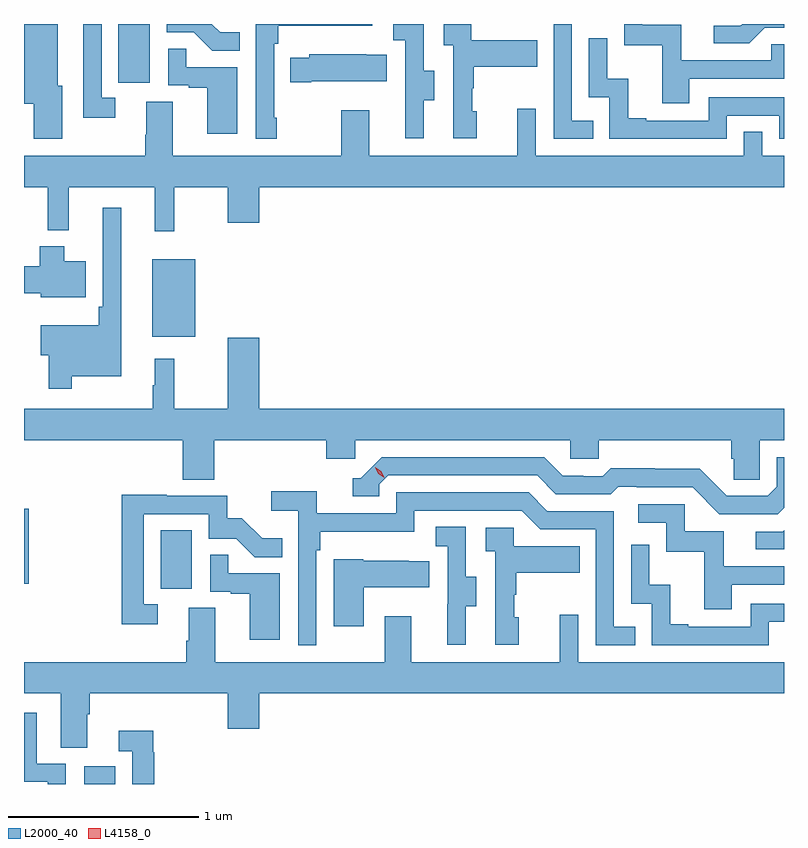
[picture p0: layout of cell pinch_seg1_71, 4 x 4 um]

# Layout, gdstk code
import gdstk
lib = gdstk.Library(unit=1e-6, precision=1e-09)
def R(c, l, rs):  # rectangles x0, y0, x1, y1
    for r in rs: c.add(gdstk.rectangle(r[:2], r[2:], *l))
def P(c, l, *ps):  # polygons
    for p in ps: c.add(gdstk.Polygon(p, *l))
L2000_40 = (2000, 40)
L4158_0 = (4158, 0)

pinch_seg1_71 = lib.new_cell('pinch_seg1_71')
R(pinch_seg1_71, L2000_40, [(1027.388,571.234,1027.552,571.327), (1027.79,572.262,1027.954,572.569), (1027.071,572.289,1027.097,572.683), (1027.745,573.587,1027.972,573.997), (1027.568,574.926,1027.732,575.233)])
P(pinch_seg1_71, L2000_40, [(1030.067,574.725),(1029.954,574.725),(1029.954,575.234),(1029.858,575.234),(1029.858,574.629),(1030.067,574.629)],
  [(1029.454,574.776),(1029.429,574.776),(1029.429,574.895),(1029.439,574.895),(1029.439,575.009),(1029.773,575.009),(1029.773,575.149),(1029.426,575.149),(1029.426,575.234),(1029.279,575.234),(1029.279,575.123),(1029.33,575.123),(1029.33,574.632),(1029.454,574.632)],
  [(1029.175,574.834),(1029.229,574.834),(1029.229,574.989),(1029.174,574.989),(1029.174,575.234),(1029.015,575.234),(1029.015,575.149),(1029.078,575.149),(1029.078,574.845),(1029.077,574.845),(1029.077,574.632),(1029.175,574.632)],
  [(1030.969,575.214),(1031.071,575.214),(1031.071,575.234),(1030.85,575.234),(1030.842,575.226),(1030.701,575.226),(1030.701,575.133),(1030.888,575.133)],
  [(1028.207,575.191),(1028.103,575.191),(1028.06,575.234),(1027.821,575.234),(1027.821,575.19),(1027.965,575.19),(1028.063,575.092),(1028.207,575.092)],
  [(1027.552,574.845),(1027.479,574.845),(1027.479,575.234),(1027.382,575.234),(1027.382,575.008),(1027.383,575.008),(1027.383,574.74),(1027.552,574.74)],
  [(1027.273,574.908),(1027.249,574.908),(1027.249,575.234),(1027.071,575.234),(1027.071,574.815),(1027.121,574.815),(1027.121,574.629),(1027.273,574.629)],
  [(1030.573,574.947),(1031.071,574.947),(1031.071,575.127),(1031.005,575.127),(1031.005,575.043),(1030.531,575.043),(1030.531,575.229),(1030.326,575.229),(1030.326,575.234),(1030.23,575.234),(1030.23,575.121),(1030.429,575.121),(1030.429,574.818),(1030.573,574.818)],
  [(1028.401,574.741),(1028.388,574.741),(1028.388,575.129),(1028.408,575.129),(1028.408,575.225),(1028.904,575.225),(1028.904,575.234),(1028.292,575.234),(1028.292,574.629),(1028.401,574.629)],
  [(1030.77,574.752),(1031.046,574.752),(1031.046,574.629),(1031.071,574.629),(1031.071,574.848),(1030.674,574.848),(1030.674,574.725),(1030.345,574.725),(1030.345,574.738),(1030.25,574.738),(1030.25,574.946),(1030.14,574.946),(1030.14,575.158),(1030.044,575.158),(1030.044,574.848),(1030.152,574.848),(1030.152,574.629),(1030.77,574.629)],
  [(1028.194,575.007),(1027.925,575.007),(1027.925,575.105),(1027.83,575.105),(1027.83,574.911),(1027.937,574.911),(1027.937,574.899),(1028.036,574.899),(1028.036,574.656),(1028.194,574.656)],
  [(1028.584,574.934),(1028.981,574.934),(1028.981,575.071),(1028.873,575.071),(1028.873,575.074),(1028.571,575.074),(1028.571,575.056),(1028.473,575.056),(1028.473,574.927),(1028.584,574.927)],
  [(1027.862,574.376),(1028.144,574.376),(1028.144,574.188),(1028.308,574.188),(1028.308,574.376),(1031.071,574.376),(1031.071,574.54),(1030.956,574.54),(1030.956,574.667),(1030.86,574.667),(1030.86,574.54),(1029.765,574.54),(1029.765,574.789),(1029.668,574.789),(1029.668,574.54),(1028.887,574.54),(1028.887,574.78),(1028.74,574.78),(1028.74,574.54),(1027.855,574.54),(1027.855,574.826),(1027.715,574.826),(1027.715,574.652),(1027.708,574.652),(1027.708,574.54),(1027.071,574.54),(1027.071,574.376),(1027.197,574.376),(1027.197,574.148),(1027.307,574.148),(1027.307,574.376),(1027.76,574.376),(1027.76,574.143),(1027.862,574.143)],
  [(1027.321,573.38),(1027.582,573.38),(1027.582,574.267),(1027.485,574.267),(1027.485,573.745),(1027.465,573.745),(1027.465,573.649),(1027.158,573.649),(1027.158,573.491),(1027.2,573.491),(1027.2,573.315),(1027.321,573.315)],
  [(1027.396,573.985),(1027.282,573.985),(1027.282,574.063),(1027.153,574.063),(1027.153,573.96),(1027.071,573.96),(1027.071,573.818),(1027.16,573.818),(1027.16,573.797),(1027.396,573.797)],
  [(1028.072,573.044),(1028.663,573.044),(1028.663,572.946),(1028.814,572.946),(1028.814,573.044),(1029.945,573.044),(1029.945,572.946),(1030.095,572.946),(1030.095,573.044),(1030.793,573.044),(1030.793,572.946),(1030.807,572.946),(1030.807,572.836),(1030.944,572.836),(1030.944,573.044),(1031.071,573.044),(1031.071,573.208),(1028.308,573.208),(1028.308,573.583),(1028.144,573.583),(1028.144,573.208),(1027.862,573.208),(1027.862,573.472),(1027.76,573.472),(1027.76,573.332),(1027.749,573.332),(1027.749,573.208),(1027.071,573.208),(1027.071,573.044),(1027.907,573.044),(1027.907,572.836),(1028.072,572.836)],
  [(1031.071,572.689),(1031.071,572.955),(1031.034,572.955),(1031.034,572.799),(1030.986,572.751),(1030.77,572.751),(1030.628,572.893),(1030.392,572.893),(1030.392,572.896),(1030.159,572.896),(1030.117,572.853),(1030.014,572.853),(1030.014,572.856),(1029.907,572.856),(1029.808,572.955),(1028.955,572.955),(1028.844,572.844),(1028.801,572.844),(1028.801,572.748),(1028.94,572.748),(1028.94,572.811),(1028.988,572.859),(1029.771,572.859),(1029.87,572.76),(1030.159,572.76),(1030.198,572.799),(1030.297,572.799),(1030.297,572.796),(1030.59,572.796),(1030.731,572.655),(1031.037,572.655)],
  [(1028.61,572.465),(1028.63,572.465),(1028.63,572.561),(1029.126,572.561),(1029.126,572.673),(1029.69,572.673),(1029.789,572.574),(1030.08,572.574),(1030.08,571.965),(1030.289,571.965),(1030.289,572.061),(1030.176,572.061),(1030.176,572.67),(1029.826,572.67),(1029.727,572.769),(1029.03,572.769),(1029.03,572.658),(1028.612,572.658),(1028.612,572.774),(1028.373,572.774),(1028.373,572.672),(1028.514,572.672),(1028.514,571.965),(1028.61,571.965)],
  [(1027.774,572.181),(1027.701,572.181),(1027.701,572.655),(1028.043,572.655),(1028.043,572.526),(1028.187,572.526),(1028.285,572.428),(1028.429,572.428),(1028.429,572.527),(1028.325,572.527),(1028.218,572.634),(1028.142,572.634),(1028.142,572.751),(1027.823,572.751),(1027.823,572.756),(1027.585,572.756),(1027.585,572.076),(1027.774,572.076)],
  [(1030.795,572.283),(1031.071,572.283),(1031.071,572.379),(1030.753,572.379),(1030.753,572.565),(1030.548,572.565),(1030.548,572.706),(1030.305,572.706),(1030.305,572.61),(1030.452,572.61),(1030.452,572.457),(1030.651,572.457),(1030.651,572.154),(1030.795,572.154)],
  [(1029.397,572.17),(1029.451,572.17),(1029.451,572.325),(1029.396,572.325),(1029.396,572.588),(1029.237,572.588),(1029.237,572.485),(1029.3,572.485),(1029.3,572.181),(1029.299,572.181),(1029.299,571.968),(1029.397,571.968)],
  [(1029.676,572.112),(1029.651,572.112),(1029.651,572.231),(1029.661,572.231),(1029.661,572.345),(1029.995,572.345),(1029.995,572.485),(1029.648,572.485),(1029.648,572.583),(1029.501,572.583),(1029.501,572.459),(1029.552,572.459),(1029.552,571.968),(1029.676,571.968)],
  [(1031.071,572.569),(1031.064,572.562),(1030.923,572.562),(1030.923,572.469),(1031.071,572.469)],
  [(1030.992,572.088),(1031.071,572.088),(1031.071,572.184),(1030.896,572.184),(1030.896,572.061),(1030.567,572.061),(1030.567,572.074),(1030.472,572.074),(1030.472,572.282),(1030.362,572.282),(1030.362,572.494),(1030.266,572.494),(1030.266,572.184),(1030.374,572.184),(1030.374,571.965),(1030.992,571.965)],
  [(1028.416,572.343),(1028.147,572.343),(1028.147,572.441),(1028.052,572.441),(1028.052,572.247),(1028.159,572.247),(1028.159,572.235),(1028.258,572.235),(1028.258,571.992),(1028.416,571.992)],
  [(1028.86,572.27),(1029.203,572.27),(1029.203,572.407),(1029.095,572.407),(1029.095,572.41),(1028.856,572.41),(1028.856,572.416),(1028.702,572.416),(1028.702,572.064),(1028.86,572.064)],
  [(1027.405,571.6),(1027.418,571.6),(1027.418,571.712),(1028.144,571.712),(1028.144,571.524),(1028.308,571.524),(1028.308,571.712),(1031.071,571.712),(1031.071,571.876),(1029.987,571.876),(1029.987,572.125),(1029.89,572.125),(1029.89,571.876),(1029.109,571.876),(1029.109,572.116),(1028.969,572.116),(1028.969,571.876),(1028.077,571.876),(1028.077,572.162),(1027.937,572.162),(1027.937,571.988),(1027.925,571.988),(1027.925,571.876),(1027.071,571.876),(1027.071,571.712),(1027.265,571.712),(1027.265,571.426),(1027.405,571.426)],
  [(1027.29,571.341),(1027.138,571.341),(1027.138,571.609),(1027.071,571.609),(1027.071,571.245),(1027.195,571.245),(1027.195,571.234),(1027.29,571.234)],
  [(1027.757,571.4),(1027.75,571.4),(1027.75,571.513),(1027.569,571.513),(1027.569,571.407),(1027.641,571.407),(1027.641,571.234),(1027.757,571.234)])
P(pinch_seg1_71, L4158_0, [(1028.966,572.847),(1028.935,572.867),(1028.92,572.899),(1028.92,572.9),(1028.92,572.9),(1028.95,572.88),(1028.966,572.847),(1028.966,572.847)])

lib.write_gds('pinch_seg1_71.gds')
